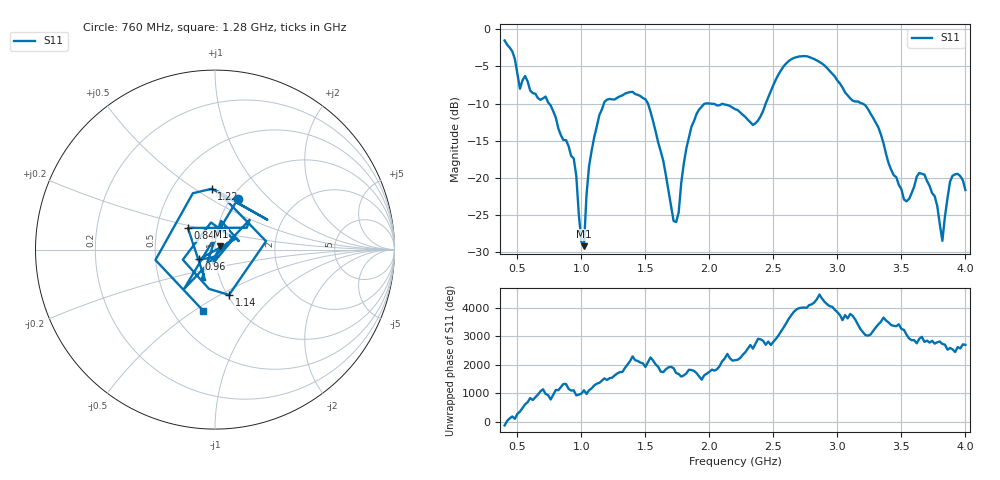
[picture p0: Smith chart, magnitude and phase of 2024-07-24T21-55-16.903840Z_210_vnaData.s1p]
!Created with skrf (http://scikit-rf.org).
# Hz S RI R 50.0
!freq ReS11 ImS11
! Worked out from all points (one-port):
!   181 points, 400 MHz to 4 GHz, reference 50 ohm
!   lowest |S11| = -29.2 dB at 1.02 GHz (marker M1), VSWR 1.07, Z = 53.1 + j1.89 ohm
!   |S11| at or under -10 dB: 747.4 MHz to 1.176 GHz (428.4 MHz wide, 44.5 % of centre); 1.52 GHz to 1.971 GHz (450.4 MHz wide, 25.8 % of centre); 3.195 GHz to end of sweep (the widest 3 of 4)
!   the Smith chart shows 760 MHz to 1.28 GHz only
!   S11 on the Smith chart (normalised r, x): 760 MHz: 1.07, +0.66; 840 MHz: 0.72, +0.18; 960 MHz: 0.83, -0.09; 1.14 GHz: 1.02, -0.55; 1.22 GHz: 0.77, +0.59; 1.28 GHz: 0.70, -0.54
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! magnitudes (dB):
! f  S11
! 400 MHz  -1.5
! 520 MHz  -8.0
! 760 MHz  -10.3
! 840 MHz  -14.3
! 860 MHz  -14.9
! 960 MHz  -19.7
! 1 GHz  -28.6
! 1.02 GHz  -29.2
! 1.06 GHz  -18.4
! 1.14 GHz  -11.6
! 1.22 GHz  -9.4
! 1.28 GHz  -9.2
! 1.3 GHz  -9.0
! 1.52 GHz  -10.0
! 1.72 GHz  -25.8
! 1.76 GHz  -24.6
! 1.82 GHz  -16.0
! 1.9 GHz  -11.4
! 2.2 GHz  -10.7
! 2.36 GHz  -12.7
! 2.66 GHz  -3.9
! 3.1 GHz  -9.3
! 3.24 GHz  -10.8
! 3.56 GHz  -22.8
! 3.68 GHz  -19.5
! 3.82 GHz  -28.4
! 3.9 GHz  -19.7
! 4 GHz  -21.6
